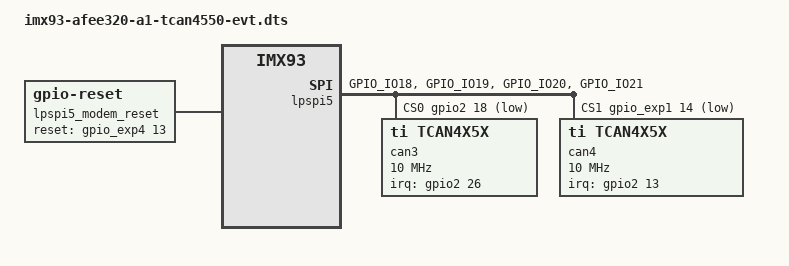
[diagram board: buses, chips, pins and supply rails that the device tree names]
// SPDX-License-Identifier: (GPL-2.0+ OR MIT)
/*
 * Copyright 2022 NXP
 */

#include "imx93-afee320-a1.dts"

/ {
	lpspi5_modem_reset: lpspi5-modem-reset {
		compatible = "gpio-reset";
		reset-gpios = <&gpio_exp4 13 GPIO_ACTIVE_HIGH>; /* CAN_RST */
		reset-delay-us = <2000>;
		reset-post-delay-ms = <40>;
		#reset-cells = <0>;
	};
};

&lpspi5 {
	num-cs = <2>;
	pinctrl-names = "default";
	pinctrl-0 = <&pinctrl_lpspi5>;
	pinctrl-1 = <&pinctrl_lpspi5>;
	cs-gpios = <&gpio2 18 GPIO_ACTIVE_LOW>, <&gpio_exp1 14 GPIO_ACTIVE_LOW>;
	resets = <&lpspi5_modem_reset>;
	status = "okay";

	can3: tcan4x5x@0 {
		#address-cells = <1>;
		#size-cells = <1>;
		compatible = "ti,tcan4x5x";
		reg = <0>;
		pinctrl-names = "default";
		pinctrl-0 = <&pinctrl_can3>;
		spi-max-frequency = <10000000>;
		bosch,mram-cfg = <0x0 0 0 32 0 0 1 1>;
		interrupt-parent = <&gpio2>;            /* Temporary */
		interrupts = <26 IRQ_TYPE_LEVEL_LOW>;   /* Temporary */
	};

	can4: tcan4x5x@1 {
		#address-cells = <1>;
		#size-cells = <1>;
		compatible = "ti,tcan4x5x";
		reg = <1>;
		pinctrl-names = "default";
		pinctrl-0 = <&pinctrl_can4>;
		spi-max-frequency = <10000000>;
		bosch,mram-cfg = <0x0 0 0 32 0 0 1 1>;
		interrupt-parent = <&gpio2>;            /* Temporary */
		interrupts = <13 IRQ_TYPE_LEVEL_LOW>;   /* Temporary */
	};
};

&iomuxc {

	pinctrl_lpspi5: lpspi5grp {
		fsl,pins = <
			MX93_PAD_GPIO_IO18__GPIO2_IO18		0x3fe
			MX93_PAD_GPIO_IO19__LPSPI5_SIN		0x3fe
			MX93_PAD_GPIO_IO20__LPSPI5_SOUT		0x3fe
			MX93_PAD_GPIO_IO21__LPSPI5_SCK		0x3fe
		>;
	};

	pinctrl_can3: can3grp{
		fsl,pins = <
			MX93_PAD_GPIO_IO26__GPIO2_IO26		0x3fe
		>;
	};

	pinctrl_can4: can4grp{
		fsl,pins = <
			MX93_PAD_GPIO_IO13__GPIO2_IO13		0x3fe
		>;
	};

};
